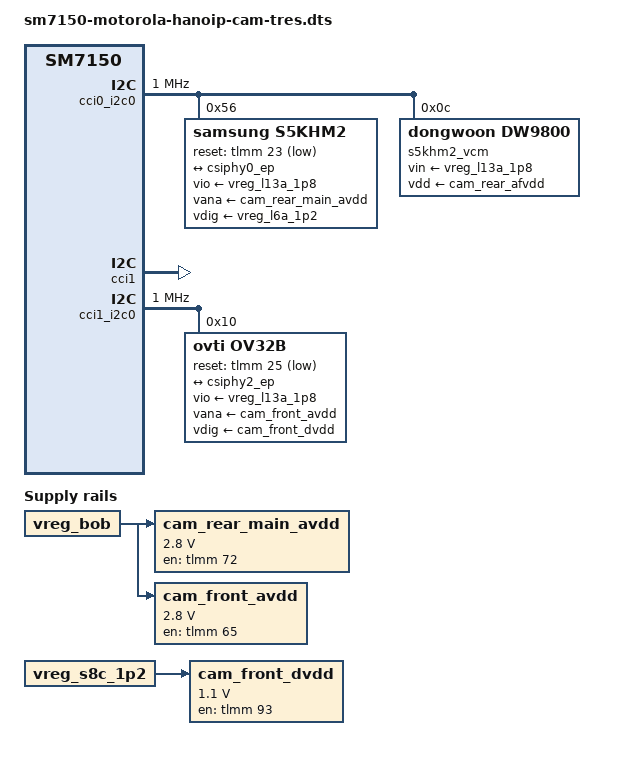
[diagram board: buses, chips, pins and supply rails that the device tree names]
// SPDX-License-Identifier: BSD-3-Clause
/*
 * CÂMERAS — três sensores no mesmo boot (29/10):
 *   slot 3 S5K4H7 traseira wide + VCM DW9714  (cam-s5k4h7 v3, validada)
 *   slot 0 S5KHM2 traseira principal 108 MP  CCI0 m0 0x56, CSIPHY0
 *   slot 1 OV32B  frontal 32 MP              CCI1 m0 0x10, CSIPHY2
 * Rails, MCLK e reset da principal e da frontal são os do camid de 26/10
 * (IDs 0x1ad2 e 0x3242 lidos nesses mesmos valores). Modo/lanes/link vêm
 * do sensormodule vendor (mode-params.py): S5KHM2 4000x3000 D-PHY
 * (0x0111 = 2) 3 lanes a 1012.32 MHz; OV32B 3264x2448 4 lanes a 414 MHz.
 * O mapeamento físico das lanes NÃO está confirmado (usado 0..n-1).
 * Driver dos dois novos: work/cameras-20261028/hanoip-cam.
 */
#include "sm7150-motorola-hanoip-cam-s5k4h7.dts"

/ {
	cam_rear_main_avdd: regulator-cam-rear-main-avdd {
		compatible = "regulator-fixed";
		regulator-name = "cam_rear_main_avdd_2p8";
		regulator-min-microvolt = <2800000>;
		regulator-max-microvolt = <2800000>;
		gpio = <&tlmm 72 GPIO_ACTIVE_HIGH>;
		enable-active-high;
		startup-delay-us = <1000>;
		vin-supply = <&vreg_bob>;
	};

	cam_front_avdd: regulator-cam-front-avdd {
		compatible = "regulator-fixed";
		regulator-name = "cam_front_avdd_2p8";
		regulator-min-microvolt = <2800000>;
		regulator-max-microvolt = <2800000>;
		gpio = <&tlmm 65 GPIO_ACTIVE_HIGH>;
		enable-active-high;
		startup-delay-us = <1000>;
		vin-supply = <&vreg_bob>;
	};

	cam_front_dvdd: regulator-cam-front-dvdd {
		compatible = "regulator-fixed";
		regulator-name = "cam_front_dvdd_1p1";
		regulator-min-microvolt = <1100000>;
		regulator-max-microvolt = <1100000>;
		gpio = <&tlmm 93 GPIO_ACTIVE_HIGH>;
		enable-active-high;
		startup-delay-us = <1000>;
		vin-supply = <&vreg_s8c_1p2>;
	};
};

&tlmm {
	cam_mclk0_default: cam-mclk0-default-state {
		pins = "gpio13";
		function = "cam_mclk";
		drive-strength = <2>;
		bias-disable;
	};

	cam_mclk2_default: cam-mclk2-default-state {
		pins = "gpio15";
		function = "cam_mclk";
		drive-strength = <2>;
		bias-disable;
	};
};

&cci0_i2c0 {
	clock-frequency = <1000000>;	/* FM+; base DT default, 29/10 */

	s5khm2: camera@56 {
		compatible = "samsung,s5khm2";
		reg = <0x56>;

		clocks = <&camcc CAMCC_MCLK0_CLK>;
		clock-names = "eclk";
		assigned-clocks = <&camcc CAMCC_MCLK0_CLK>;
		assigned-clock-rates = <24000000>;

		vio-supply = <&vreg_l13a_1p8>;
		vana-supply = <&cam_rear_main_avdd>;
		vdig-supply = <&vreg_l6a_1p2>;	/* set to 1.104 V by the driver */

		reset-gpios = <&tlmm 23 GPIO_ACTIVE_LOW>;

		/* Android: roll 90, yaw 180, as the other rear sensors. */
		orientation = <1>;
		rotation = <270>;
		lens-focus = <&s5khm2_vcm>;

		pinctrl-0 = <&cam_mclk0_default>;
		pinctrl-names = "default";

		/*
		 * C-PHY, 3 trios (29/10): as D-PHY the CSIPHY0 status showed no
		 * lane activity in any lane order/settle, while the sensor
		 * counted frames; modes 1/3/4/5 (864.6 MHz out) would need
		 * 2.88 Gbps per D-PHY lane, above the SM7150 limit. 0x0111 = 2
		 * is SMIA++ "CSI-2", not proof of D-PHY.
		 */
		port {
			s5khm2_ep: endpoint {
				bus-type = <1>;	/* MEDIA_BUS_TYPE_CSI2_CPHY */
				data-lanes = <1 2 3>;
				link-frequencies = /bits/ 64 <1012320000>;
				remote-endpoint = <&csiphy0_ep>;
			};
		};
	};

	/*
	 * Stock actuator@0 (cci0 master0), profile "mot_hanoip_dw9800": acks at
	 * 0x0c with VAF on (29/10 read-only probe). Driven by hanoip-vcm with
	 * the vendor init list (ofilm_mot_hanoip_s5khm2 list 16).
	 */
	s5khm2_vcm: camera-lens@c {
		compatible = "dongwoon,dw9800";
		reg = <0x0c>;
		vin-supply = <&vreg_l13a_1p8>;
		vdd-supply = <&cam_rear_afvdd>;
	};
};

&cci1 {
	status = "okay";
};

&cci1_i2c0 {
	clock-frequency = <1000000>;	/* FM+; base DT default, 29/10 */

	ov32b: camera@10 {
		compatible = "ovti,ov32b";
		reg = <0x10>;

		clocks = <&camcc CAMCC_MCLK2_CLK>;
		clock-names = "eclk";
		assigned-clocks = <&camcc CAMCC_MCLK2_CLK>;
		assigned-clock-rates = <24000000>;

		vio-supply = <&vreg_l13a_1p8>;
		vana-supply = <&cam_front_avdd>;
		vdig-supply = <&cam_front_dvdd>;

		reset-gpios = <&tlmm 25 GPIO_ACTIVE_LOW>;

		/*
		 * Android: roll 270, yaw 0. The rear sensors need 360 - roll
		 * in this stack, so 90 here; NOT verified on screen yet.
		 */
		orientation = <0>;
		rotation = <90>;

		pinctrl-0 = <&cam_mclk2_default>;
		pinctrl-names = "default";

		port {
			ov32b_ep: endpoint {
				data-lanes = <1 2 3 4>;
				link-frequencies = /bits/ 64 <414000000>;
				remote-endpoint = <&csiphy2_ep>;
			};
		};
	};
};

&camss {
	ports {
		port@0 {
			csiphy0_ep: endpoint {
				bus-type = <1>;	/* MEDIA_BUS_TYPE_CSI2_CPHY */
				data-lanes = <0 1 2>;
				remote-endpoint = <&s5khm2_ep>;
			};
		};

		port@2 {
			csiphy2_ep: endpoint {
				clock-lanes = <7>;
				data-lanes = <0 1 2 3>;
				remote-endpoint = <&ov32b_ep>;
			};
		};
	};
};
